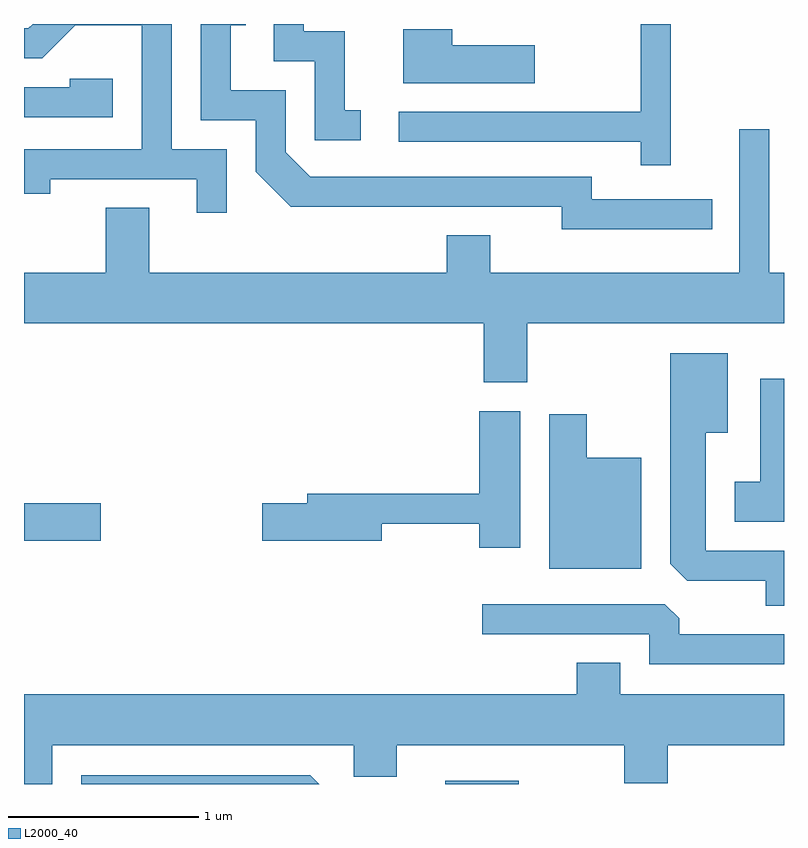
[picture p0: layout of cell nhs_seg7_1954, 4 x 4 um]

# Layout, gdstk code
import gdstk
lib = gdstk.Library(unit=1e-6, precision=1e-09)
def R(c, l, rs):  # rectangles x0, y0, x1, y1
    for r in rs: c.add(gdstk.rectangle(r[:2], r[2:], *l))
def P(c, l, *ps):  # polygons
    for p in ps: c.add(gdstk.Polygon(p, *l))
L2000_40 = (2000, 40)

nhs_seg7_1954 = lib.new_cell('nhs_seg7_1954')
R(nhs_seg7_1954, L2000_40, [(245.828,1796.252,246.214,1796.269), (243.611,1797.531,244.014,1797.729)])
P(nhs_seg7_1954, L2000_40, [(247.014,1800.252),(246.856,1800.252),(246.856,1799.789),(245.583,1799.789),(245.583,1799.631),(246.856,1799.631),(246.856,1799.508),(247.014,1799.508)],
  [(244.679,1799.594),(244.389,1799.594),(244.389,1800.252),(243.657,1800.252),(243.634,1800.229),(243.611,1800.229),(243.611,1800.071),(243.707,1800.071),(243.882,1800.246),(244.231,1800.246),(244.231,1799.594),(243.611,1799.594),(243.611,1799.358),(243.749,1799.358),(243.749,1799.436),(244.521,1799.436),(244.521,1799.258),(244.679,1799.258)],
  [(247.233,1799.329),(246.599,1799.329),(246.599,1799.449),(245.117,1799.449),(244.989,1799.577),(244.989,1799.904),(244.699,1799.904),(244.699,1800.246),(244.778,1800.246),(244.778,1800.252),(244.541,1800.252),(244.541,1799.746),(244.831,1799.746),(244.831,1799.474),(245.014,1799.291),(246.441,1799.291),(246.441,1799.171),(247.233,1799.171)],
  [(245.383,1799.799),(245.299,1799.799),(245.299,1800.214),(245.084,1800.214),(245.084,1800.252),(244.926,1800.252),(244.926,1800.056),(245.141,1800.056),(245.141,1799.641),(245.383,1799.641)],
  [(246.299,1800.139),(245.864,1800.139),(245.864,1800.224),(245.606,1800.224),(245.606,1799.941),(246.299,1799.941)],
  [(244.079,1799.964),(243.851,1799.964),(243.851,1799.919),(243.611,1799.919),(243.611,1799.761),(244.079,1799.761)],
  [(246.259,1798.676),(247.611,1798.676),(247.611,1798.944),(247.534,1798.944),(247.534,1799.698),(247.376,1799.698),(247.376,1798.944),(246.064,1798.944),(246.064,1799.139),(245.836,1799.139),(245.836,1798.944),(244.269,1798.944),(244.269,1799.284),(244.041,1799.284),(244.041,1798.944),(243.611,1798.944),(243.611,1798.676),(246.031,1798.676),(246.031,1798.366),(246.259,1798.366)],
  [(247.611,1797.479),(247.199,1797.479),(247.199,1798.101),(247.314,1798.101),(247.314,1798.519),(247.011,1798.519),(247.011,1797.412),(247.102,1797.321),(247.516,1797.321),(247.516,1797.191),(247.611,1797.191)],
  [(247.611,1798.384),(247.486,1798.384),(247.486,1797.844),(247.351,1797.844),(247.351,1797.631),(247.611,1797.631)],
  [(246.224,1798.214),(246.006,1798.214),(246.006,1797.779),(245.101,1797.779),(245.101,1797.729),(244.866,1797.729),(244.866,1797.531),(245.494,1797.531),(245.494,1797.621),(246.006,1797.621),(246.006,1797.496),(246.224,1797.496)],
  [(246.859,1797.969),(246.574,1797.969),(246.574,1798.199),(246.376,1798.199),(246.376,1797.386),(246.859,1797.386)],
  [(247.611,1797.039),(247.059,1797.039),(247.059,1797.124),(246.984,1797.199),(246.023,1797.199),(246.023,1797.041),(246.901,1797.041),(246.901,1796.881),(247.611,1796.881)],
  [(243.759,1796.456),(245.346,1796.456),(245.346,1796.291),(245.574,1796.291),(245.574,1796.456),(246.771,1796.456),(246.771,1796.256),(246.999,1796.256),(246.999,1796.456),(247.611,1796.456),(247.611,1796.724),(246.749,1796.724),(246.749,1796.889),(246.521,1796.889),(246.521,1796.724),(243.611,1796.724),(243.611,1796.252),(243.759,1796.252)],
  [(245.117,1796.299),(243.911,1796.299),(243.911,1796.252),(245.164,1796.252)])

lib.write_gds('nhs_seg7_1954.gds')
